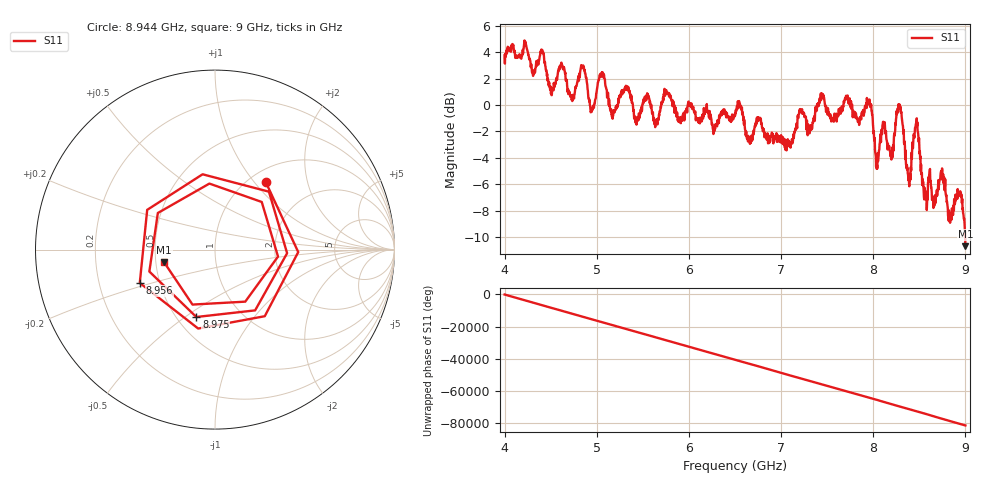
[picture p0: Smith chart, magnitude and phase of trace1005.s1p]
! Created with skrf 1.8.0 (http://scikit-rf.org).
# Hz S RI R 50.0
!freq ReS11 ImS11
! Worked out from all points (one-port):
!   1601 points, 4 GHz to 9 GHz, reference 50 ohm
!   lowest |S11| = -10.7 dB at 9 GHz (marker M1), VSWR 1.82, Z = 27.7 - j4.36 ohm
!   |S11| at or under -10 dB: 8.998079 GHz to end of sweep
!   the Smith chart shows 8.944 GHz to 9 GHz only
!   S11 on the Smith chart (normalised r, x): 8.944 GHz: 1.18, +1.15; 8.956 GHz: 0.39, -0.18; 8.975 GHz: 0.62, -0.55; 9 GHz: 0.55, -0.09
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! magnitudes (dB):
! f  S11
! 4 GHz  3.8
! 4.406 GHz  4.2
! 4.512 GHz  0.8
! 4.625 GHz  3.0
! 4.734 GHz  0.3
! 4.853 GHz  3.0
! 4.95 GHz  -0.3
! 5.053 GHz  2.4
! 5.162 GHz  -0.7
! 5.25 GHz  0.7
! 5.875 GHz  -0.8
! 6.5 GHz  -0.8
! 7.125 GHz  -2.6
! 7.444 GHz  0.8
! 7.75 GHz  0.1
! 7.956 GHz  0.1
! 8.044 GHz  -4.8
! 8.112 GHz  -1.6
! 8.197 GHz  -4.1
! 8.288 GHz  -0.1
! 8.375 GHz  -5.2
! 8.462 GHz  -1.5
! 8.566 GHz  -6.8
! 8.838 GHz  -8.6
! 8.944 GHz  -6.5
! 8.956 GHz  -6.8
! 8.975 GHz  -8.2
! 9 GHz  -10.7
